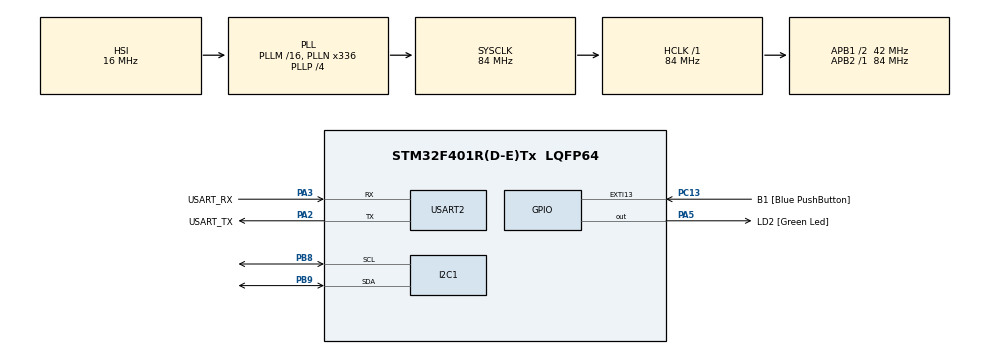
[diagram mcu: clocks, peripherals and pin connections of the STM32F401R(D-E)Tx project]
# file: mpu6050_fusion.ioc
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Mcu.Family=STM32F4
Mcu.Name=STM32F401R(D-E)Tx
Mcu.Package=LQFP64
NVIC.PriorityGroup=NVIC_PRIORITYGROUP_4
PA13.GPIO_Label=TMS
PA13.Mode=Trace_Asynchronous_SW
PA13.Signal=SYS_JTMS-SWDIO
PA14.GPIO_Label=TCK
PA14.Mode=Trace_Asynchronous_SW
PA14.Signal=SYS_JTCK-SWCLK
PA2.GPIO_Label=USART_TX
PA2.GPIO_Mode=GPIO_MODE_AF_PP
PA2.GPIO_PuPd=GPIO_NOPULL
PA2.GPIO_Speed=GPIO_SPEED_FREQ_LOW
PA2.Mode=Asynchronous
PA2.Signal=USART2_TX
PA3.GPIO_Label=USART_RX
PA3.GPIO_Mode=GPIO_MODE_AF_PP
PA3.GPIO_PuPd=GPIO_NOPULL
PA3.GPIO_Speed=GPIO_SPEED_FREQ_LOW
PA3.Mode=Asynchronous
PA3.Signal=USART2_RX
PA5.GPIO_Label=LD2 [Green Led]
PA5.GPIO_Mode=GPIO_MODE_OUTPUT_PP
PA5.GPIO_PuPd=GPIO_NOPULL
PA5.GPIO_Speed=GPIO_SPEED_FREQ_LOW
PA5.Signal=GPIO_Output
PB3.GPIO_Label=SWO
PB3.Mode=Trace_Asynchronous_SW
PB3.Signal=SYS_JTDO-SWO
PB8.Mode=I2C
PB8.Signal=I2C1_SCL
PB9.Mode=I2C
PB9.Signal=I2C1_SDA
PC13-ANTI_TAMP.GPIO_Label=B1 [Blue PushButton]
PC13-ANTI_TAMP.GPIO_ModeDefaultEXTI=GPIO_MODE_IT_FALLING
PC13-ANTI_TAMP.GPIO_PuPd=GPIO_NOPULL
PC13-ANTI_TAMP.Signal=GPXTI13
PC14-OSC32_IN.Mode=LSE-External-Oscillator
PC14-OSC32_IN.Signal=RCC_OSC32_IN
PC15-OSC32_OUT.Mode=LSE-External-Oscillator
PC15-OSC32_OUT.Signal=RCC_OSC32_OUT
PH0\ -\ OSC_IN.Mode=HSE-External-Clock-Source
PH0\ -\ OSC_IN.Signal=RCC_OSC_IN
PH1\ -\ OSC_OUT.Mode=HSE-External-Clock-Source
PH1\ -\ OSC_OUT.Signal=RCC_OSC_OUT
ProjectManager.HeapSize=0x200
ProjectManager.StackSize=0x400
ProjectManager.TargetToolchain=STM32CubeIDE
RCC.48MHZClocksFreq_Value=48000000
RCC.AHBFreq_Value=84000000
RCC.APB1CLKDivider=RCC_HCLK_DIV2
RCC.APB1Freq_Value=42000000
RCC.APB1TimFreq_Value=84000000
RCC.APB2Freq_Value=84000000
RCC.APB2TimFreq_Value=84000000
RCC.CortexFreq_Value=84000000
RCC.HCLKFreq_Value=84000000
RCC.HSE_VALUE=8000000
RCC.HSI_VALUE=16000000
RCC.PLLN=336
RCC.PLLP=RCC_PLLP_DIV4
RCC.PLLQ=7
RCC.SYSCLKFreq_VALUE=84000000
RCC.SYSCLKSource=RCC_SYSCLKSOURCE_PLLCLK
RCC.VCOOutputFreq_Value=336000000
USART2.VirtualMode=VM_ASYNC
board=NUCLEO-F401RE

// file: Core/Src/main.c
/* USER CODE BEGIN Header */
/**
  ******************************************************************************
  * @file           : main.c
  * @brief          : Main program body
  ******************************************************************************
  */
/* USER CODE END Header */
#include "main.h"

/* USER CODE BEGIN Includes */
#include <stdio.h>
#include <math.h>
#include <string.h>
#include "kalman.h"
/* USER CODE END Includes */

/* USER CODE BEGIN PD */
#define MPU6050_ADDR    (0x68 << 1)
#define PWR_MGMT_1      0x6B
#define ACCEL_XOUT_H    0x3B
#define ACCEL_CONFIG    0x1C
#define GYRO_CONFIG     0x1B
#define ALPHA           0.98f
#define DT              0.01f
/* USER CODE END PD */

/* USER CODE BEGIN PV */
KalmanFilter kf_roll;
KalmanFilter kf_pitch;
typedef struct {
    int16_t ax, ay, az;
    int16_t gx, gy, gz;
} MPU6050_Data;
MPU6050_Data imu;
float roll = 0.0f;
float pitch = 0.0f;
char uart_buf[64];
/* USER CODE END PV */

I2C_HandleTypeDef hi2c1;
UART_HandleTypeDef huart2;

void SystemClock_Config(void);
static void MX_GPIO_Init(void);
static void MX_I2C1_Init(void);
static void MX_USART2_UART_Init(void);

/* USER CODE BEGIN 0 */
void MPU6050_Init(void) {
    uint8_t data;
    data = 0x00;
    HAL_I2C_Mem_Write(&hi2c1, MPU6050_ADDR, PWR_MGMT_1, 1, &data, 1, 100);
    HAL_Delay(100);
    data = 0x00;
    HAL_I2C_Mem_Write(&hi2c1, MPU6050_ADDR, ACCEL_CONFIG, 1, &data, 1, 100);
    data = 0x00;
    HAL_I2C_Mem_Write(&hi2c1, MPU6050_ADDR, GYRO_CONFIG, 1, &data, 1, 100);
}

void MPU6050_Read(MPU6050_Data *data) {
    uint8_t buf[14];
    HAL_I2C_Mem_Read(&hi2c1, MPU6050_ADDR, ACCEL_XOUT_H, 1, buf, 14, 100);
    data->ax = (int16_t)(buf[0]  << 8 | buf[1]);
    data->ay = (int16_t)(buf[2]  << 8 | buf[3]);
    data->az = (int16_t)(buf[4]  << 8 | buf[5]);
    data->gx = (int16_t)(buf[8]  << 8 | buf[9]);
    data->gy = (int16_t)(buf[10] << 8 | buf[11]);
    data->gz = (int16_t)(buf[12] << 8 | buf[13]);
}
/* USER CODE END 0 */

int main(void)
{
  HAL_Init();
  SystemClock_Config();
  MX_GPIO_Init();
  MX_I2C1_Init();
  MX_USART2_UART_Init();

  /* USER CODE BEGIN 2 */
  HAL_Delay(1000);
  sprintf(uart_buf, "STM32 Started!\r\n");
  HAL_UART_Transmit(&huart2, (uint8_t*)uart_buf, strlen(uart_buf), 1000);

  MPU6050_Init();
  Kalman_Init(&kf_roll);
  Kalman_Init(&kf_pitch);

  uint8_t check;
  HAL_StatusTypeDef status = HAL_I2C_Mem_Read(&hi2c1, MPU6050_ADDR, 0x75, 1, &check, 1, 100);
  if (status == HAL_OK) {
      sprintf(uart_buf, "MPU6050 found! ID=0x%02X\r\n", check);
  } else {
      sprintf(uart_buf, "MPU6050 NOT found!\r\n");
  }
  HAL_UART_Transmit(&huart2, (uint8_t*)uart_buf, strlen(uart_buf), 1000);
  HAL_Delay(500);
  /* USER CODE END 2 */

  while (1)
  {
    /* USER CODE BEGIN 3 */
    MPU6050_Read(&imu);

    float ax = imu.ax / 16384.0f;
    float ay = imu.ay / 16384.0f;
    float az = imu.az / 16384.0f;
    float gx = imu.gx / 131.0f;
    float gy = imu.gy / 131.0f;

    float accel_roll  = atan2f(ay, az) * 180.0f / M_PI;
    float accel_pitch = atan2f(-ax, sqrtf(ay*ay + az*az)) * 180.0f / M_PI;

    roll  = Kalman_Update(&kf_roll,  accel_roll,  gx, DT);
    pitch = Kalman_Update(&kf_pitch, accel_pitch, gy, DT);

    sprintf(uart_buf, "Roll:%6.2f Pitch:%6.2f\r\n", roll, pitch);
    HAL_UART_Transmit(&huart2, (uint8_t*)uart_buf, strlen(uart_buf), 100);

    HAL_GPIO_TogglePin(LD2_GPIO_Port, LD2_Pin);
    HAL_Delay(10);
    /* USER CODE END 3 */
  }
}

void SystemClock_Config(void)
{
  RCC_OscInitTypeDef RCC_OscInitStruct = {0};
  RCC_ClkInitTypeDef RCC_ClkInitStruct = {0};
  __HAL_RCC_PWR_CLK_ENABLE();
  __HAL_PWR_VOLTAGESCALING_CONFIG(PWR_REGULATOR_VOLTAGE_SCALE2);
  RCC_OscInitStruct.OscillatorType = RCC_OSCILLATORTYPE_HSI;
  RCC_OscInitStruct.HSIState = RCC_HSI_ON;
  RCC_OscInitStruct.HSICalibrationValue = RCC_HSICALIBRATION_DEFAULT;
  RCC_OscInitStruct.PLL.PLLState = RCC_PLL_ON;
  RCC_OscInitStruct.PLL.PLLSource = RCC_PLLSOURCE_HSI;
  RCC_OscInitStruct.PLL.PLLM = 16;
  RCC_OscInitStruct.PLL.PLLN = 336;
  RCC_OscInitStruct.PLL.PLLP = RCC_PLLP_DIV4;
  RCC_OscInitStruct.PLL.PLLQ = 7;
  if (HAL_RCC_OscConfig(&RCC_OscInitStruct) != HAL_OK) { Error_Handler(); }
  RCC_ClkInitStruct.ClockType = RCC_CLOCKTYPE_HCLK|RCC_CLOCKTYPE_SYSCLK
                              |RCC_CLOCKTYPE_PCLK1|RCC_CLOCKTYPE_PCLK2;
  RCC_ClkInitStruct.SYSCLKSource = RCC_SYSCLKSOURCE_PLLCLK;
  RCC_ClkInitStruct.AHBCLKDivider = RCC_SYSCLK_DIV1;
  RCC_ClkInitStruct.APB1CLKDivider = RCC_HCLK_DIV2;
  RCC_ClkInitStruct.APB2CLKDivider = RCC_HCLK_DIV1;
  if (HAL_RCC_ClockConfig(&RCC_ClkInitStruct, FLASH_LATENCY_2) != HAL_OK) { Error_Handler(); }
}

static void MX_I2C1_Init(void)
{
  hi2c1.Instance = I2C1;
  hi2c1.Init.ClockSpeed = 100000;
  hi2c1.Init.DutyCycle = I2C_DUTYCYCLE_2;
  hi2c1.Init.OwnAddress1 = 0;
  hi2c1.Init.AddressingMode = I2C_ADDRESSINGMODE_7BIT;
  hi2c1.Init.DualAddressMode = I2C_DUALADDRESS_DISABLE;
  hi2c1.Init.OwnAddress2 = 0;
  hi2c1.Init.GeneralCallMode = I2C_GENERALCALL_DISABLE;
  hi2c1.Init.NoStretchMode = I2C_NOSTRETCH_DISABLE;
  if (HAL_I2C_Init(&hi2c1) != HAL_OK) { Error_Handler(); }
}

static void MX_USART2_UART_Init(void)
{
  huart2.Instance = USART2;
  huart2.Init.BaudRate = 115200;
  huart2.Init.WordLength = UART_WORDLENGTH_8B;
  huart2.Init.StopBits = UART_STOPBITS_1;
  huart2.Init.Parity = UART_PARITY_NONE;
  huart2.Init.Mode = UART_MODE_TX_RX;
  huart2.Init.HwFlowCtl = UART_HWCONTROL_NONE;
  huart2.Init.OverSampling = UART_OVERSAMPLING_16;
  if (HAL_UART_Init(&huart2) != HAL_OK) { Error_Handler(); }
}

static void MX_GPIO_Init(void)
{
  GPIO_InitTypeDef GPIO_InitStruct = {0};
  __HAL_RCC_GPIOC_CLK_ENABLE();
  __HAL_RCC_GPIOH_CLK_ENABLE();
  __HAL_RCC_GPIOA_CLK_ENABLE();
  __HAL_RCC_GPIOB_CLK_ENABLE();
  HAL_GPIO_WritePin(LD2_GPIO_Port, LD2_Pin, GPIO_PIN_RESET);
  GPIO_InitStruct.Pin = B1_Pin;
  GPIO_InitStruct.Mode = GPIO_MODE_IT_FALLING;
  GPIO_InitStruct.Pull = GPIO_NOPULL;
  HAL_GPIO_Init(B1_GPIO_Port, &GPIO_InitStruct);
  GPIO_InitStruct.Pin = LD2_Pin;
  GPIO_InitStruct.Mode = GPIO_MODE_OUTPUT_PP;
  GPIO_InitStruct.Pull = GPIO_NOPULL;
  GPIO_InitStruct.Speed = GPIO_SPEED_FREQ_LOW;
  HAL_GPIO_Init(LD2_GPIO_Port, &GPIO_InitStruct);
}

void Error_Handler(void)
{
  __disable_irq();
  while (1) {}
}
